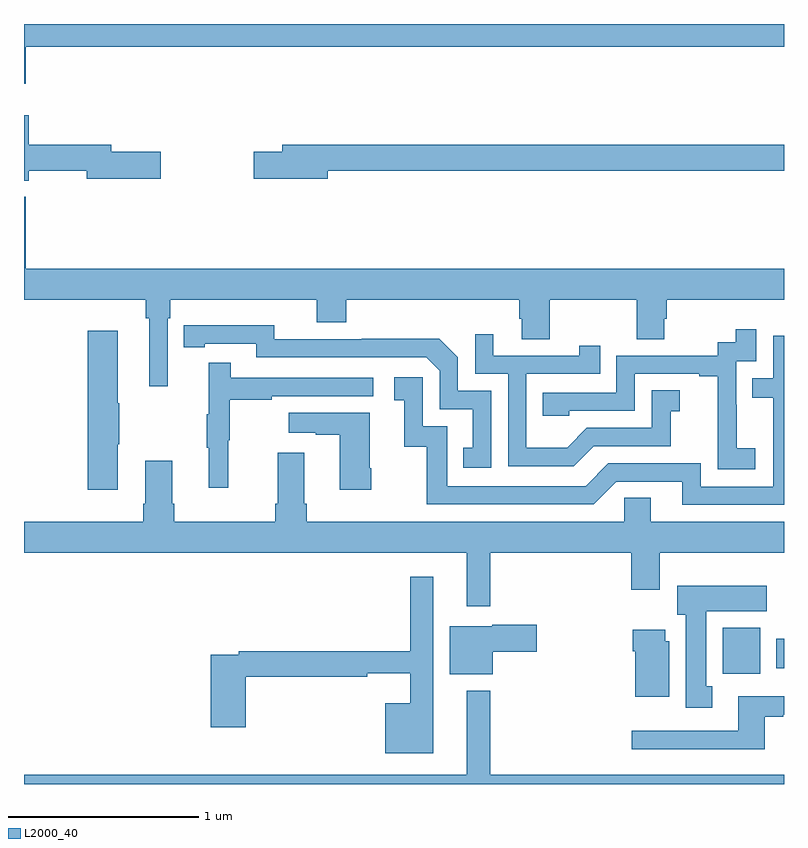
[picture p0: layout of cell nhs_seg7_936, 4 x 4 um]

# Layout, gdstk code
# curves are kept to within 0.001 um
import gdstk
lib = gdstk.Library(unit=1e-6, precision=1e-09)
def R(c, l, rs):  # rectangles x0, y0, x1, y1
    for r in rs: c.add(gdstk.rectangle(r[:2], r[2:], *l))
def P(c, l, *ps):  # polygons
    for p in ps: c.add(gdstk.Polygon(p, *l))
L2000_40 = (2000, 40)

nhs_seg7_936 = lib.new_cell('nhs_seg7_936')
R(nhs_seg7_936, L2000_40, [(182.678,1066.58,182.875,1066.822), (182.96,1066.608,183,1066.764)])
P(nhs_seg7_936, L2000_40, [(179.009,1069.88),(183,1069.88),(183,1070),(179,1070),(179,1069.686),(179.009,1069.686)],
  [(179.026,1069.228),(179.33,1069.228),(179.33,1069.186),(179.719,1069.186),(179.719,1069.328),(179.458,1069.328),(179.458,1069.364),(179.026,1069.364),(179.026,1069.519),(179,1069.519),(179,1069.175),(179.026,1069.175)],
  [(180.598,1069.228),(183,1069.228),(183,1069.364),(180.359,1069.364),(180.359,1069.328),(180.21,1069.328),(180.21,1069.186),(180.598,1069.186)],
  [(179.757,1068.452),(179.771,1068.452),(179.771,1068.548),(180.542,1068.548),(180.542,1068.431),(180.695,1068.431),(180.695,1068.548),(181.607,1068.548),(181.607,1068.45),(181.619,1068.45),(181.619,1068.34),(181.767,1068.34),(181.767,1068.548),(182.224,1068.548),(182.224,1068.34),(182.371,1068.34),(182.371,1068.45),(182.384,1068.45),(182.384,1068.548),(183,1068.548),(183,1068.712),(179.009,1068.712),(179.009,1069.09),(179,1069.09),(179,1068.548),(179.641,1068.548),(179.641,1068.452),(179.66,1068.452),(179.66,1068.093),(179.757,1068.093)],
  [(181.458,1068.069),(181.284,1068.069),(181.284,1068.246),(181.186,1068.344),(180.778,1068.344),(180.778,1068.342),(180.318,1068.342),(180.318,1068.415),(179.842,1068.414),(179.842,1068.298),(179.95,1068.298),(179.95,1068.318),(180.222,1068.318),(180.222,1068.246),(181.116,1068.246),(181.188,1068.174),(181.188,1067.973),(181.361,1067.973),(181.361,1067.769),(181.312,1067.769),(181.312,1067.664),(181.458,1067.664)],
  [(182.848,1067.767),(182.75,1067.767),(182.75,1067.996),(182.748,1067.996),(182.748,1068.225),(182.853,1068.225),(182.853,1068.394),(182.745,1068.394),(182.745,1068.324),(182.652,1068.324),(182.652,1068.255),(182.118,1068.255),(182.118,1068.06),(181.729,1068.06),(181.729,1067.937),(181.869,1067.937),(181.869,1067.964),(182.214,1067.964),(182.214,1068.159),(182.555,1068.159),(182.555,1068.147),(182.651,1068.147),(182.651,1067.863),(182.65,1067.863),(182.65,1067.657),(182.848,1067.657)],
  [(179.494,1067.788),(179.502,1067.788),(179.502,1068.005),(179.494,1068.005),(179.494,1068.385),(179.336,1068.385),(179.336,1067.55),(179.494,1067.55)],
  [(181.999,1067.778),(182.403,1067.778),(182.403,1067.963),(182.452,1067.963),(182.452,1068.073),(182.304,1068.073),(182.304,1067.874),(181.962,1067.874),(181.858,1067.77),(181.644,1067.77),(181.644,1068.159),(182.033,1068.159),(182.033,1068.307),(181.922,1068.307),(181.922,1068.255),(181.471,1068.255),(181.471,1068.367),(181.374,1068.367),(181.374,1068.159),(181.548,1068.159),(181.548,1067.673),(181.894,1067.673)],
  [(183,1068.36),(182.943,1068.36),(182.943,1068.135),(182.833,1068.135),(182.833,1068.034),(182.943,1068.034),(182.943,1067.565),(182.562,1067.565),(182.562,1067.688),(182.076,1067.688),(181.956,1067.568),(181.227,1067.568),(181.227,1067.883),(181.098,1067.883),(181.098,1068.142),(180.948,1068.142),(180.948,1068.021),(181.001,1068.021),(181.001,1067.775),(181.119,1067.775),(181.119,1067.472),(181.998,1067.472),(182.118,1067.592),(182.465,1067.592),(182.465,1067.469),(183,1067.469)],
  [(180.074,1067.808),(180.082,1067.808),(180.082,1068.022),(180.305,1068.022),(180.305,1068.042),(180.838,1068.042),(180.838,1068.138),(180.089,1068.138),(180.089,1068.217),(179.972,1068.217),(179.972,1067.945),(179.961,1067.945),(179.961,1067.771),(179.972,1067.771),(179.972,1067.559),(180.074,1067.559)],
  [(180.828,1067.662),(180.82,1067.662),(180.82,1067.953),(180.393,1067.953),(180.393,1067.849),(180.536,1067.849),(180.536,1067.839),(180.662,1067.839),(180.662,1067.55),(180.828,1067.55)],
  [(180.475,1067.476),(180.475,1067.743),(180.335,1067.743),(180.335,1067.476),(180.323,1067.476),(180.323,1067.38),(179.792,1067.38),(179.792,1067.476),(179.779,1067.476),(179.779,1067.701),(179.639,1067.701),(179.639,1067.476),(179.627,1067.476),(179.627,1067.38),(179,1067.38),(179,1067.216),(181.331,1067.216),(181.331,1066.935),(181.453,1066.935),(181.453,1067.216),(182.195,1067.216),(182.195,1067.022),(182.347,1067.022),(182.347,1067.216),(183,1067.216),(183,1067.38),(182.299,1067.38),(182.299,1067.507),(182.16,1067.507),(182.16,1067.38),(180.488,1067.38),(180.488,1067.476)],
  [(181.153,1067.092),(181.032,1067.092),(181.032,1066.7),(180.13,1066.7),(180.13,1066.68),(179.984,1066.68),(179.984,1066.299),(180.167,1066.299),(180.167,1066.564),(180.806,1066.564),(180.806,1066.583),(181.032,1066.583),(181.032,1066.426),(180.902,1066.426),(180.902,1066.163),(181.153,1066.163)],
  [(182.623,1066.514),(182.59,1066.514),(182.59,1066.91),(182.908,1066.91),(182.908,1067.044),(182.438,1067.044),(182.438,1066.89),(182.483,1066.89),(182.483,1066.401),(182.623,1066.401)],
  [(181.468,1066.697),(181.699,1066.697),(181.699,1066.839),(181.464,1066.839),(181.464,1066.831),(181.241,1066.831),(181.241,1066.577),(181.468,1066.577)],
  [(182.395,1066.752),(182.374,1066.752),(182.374,1066.813),(182.204,1066.813),(182.204,1066.7),(182.216,1066.7),(182.216,1066.46),(182.395,1066.46)],
  [(179,1066),(183,1066),(183,1066.048),(181.453,1066.048),(181.453,1066.492),(181.331,1066.492),(181.331,1066.048),(179,1066.048)],
  [(182.899,1066.353),(182.995,1066.353),(182.995,1066.365),(183,1066.365),(183,1066.462),(182.759,1066.462),(182.759,1066.281),(182.199,1066.281),(182.199,1066.184),(182.899,1066.184)])

lib.write_gds('nhs_seg7_936.gds')
